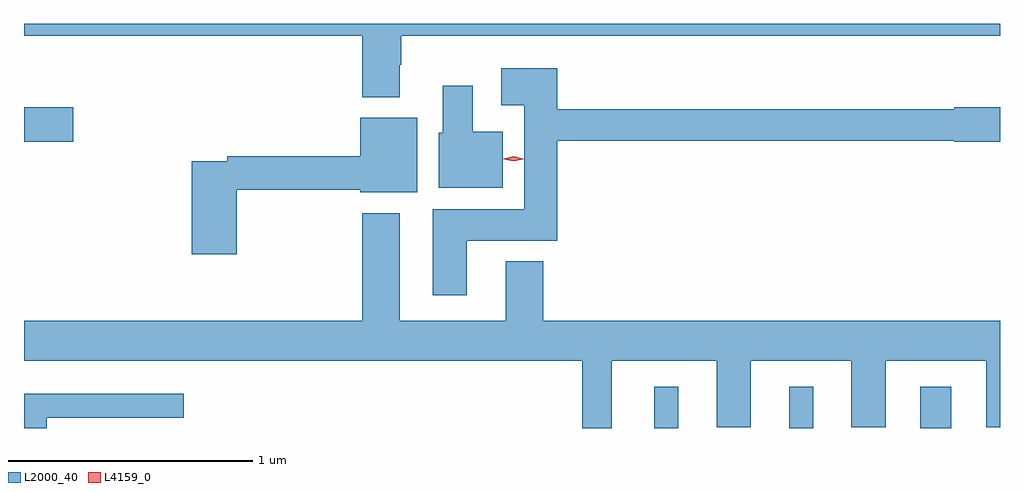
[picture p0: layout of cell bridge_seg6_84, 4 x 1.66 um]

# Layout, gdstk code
import gdstk
lib = gdstk.Library(unit=1e-6, precision=1e-09)
def R(c, l, rs):  # rectangles x0, y0, x1, y1
    for r in rs: c.add(gdstk.rectangle(r[:2], r[2:], *l))
def P(c, l, *ps):  # polygons
    for p in ps: c.add(gdstk.Polygon(p, *l))
L2000_40 = (2000, 40)
L4159_0 = (4159, 0)

bridge_seg6_84 = lib.new_cell('bridge_seg6_84')
R(bridge_seg6_84, L2000_40, [(726.002,996.344,726.1,996.514), (726.554,996.344,726.652,996.514), (727.091,996.344,727.219,996.514), (723.418,997.517,723.619,997.659)])
P(bridge_seg6_84, L2000_40, [(724.957,997.832),(724.965,997.832),(724.965,997.952),(727.418,997.952),(727.418,998),(723.418,998),(723.418,997.952),(724.805,997.952),(724.805,997.7),(724.957,997.7)],
  [(725.233,997.112),(725.603,997.112),(725.603,997.522),(727.23,997.522),(727.23,997.517),(727.418,997.517),(727.418,997.659),(727.23,997.659),(727.23,997.651),(725.603,997.651),(725.603,997.819),(725.373,997.819),(725.373,997.667),(725.468,997.667),(725.468,997.24),(725.093,997.24),(725.093,996.888),(725.233,996.888)],
  [(725.38,997.558),(725.257,997.558),(725.257,997.747),(725.135,997.747),(725.135,997.554),(725.117,997.554),(725.117,997.328),(725.38,997.328)],
  [(724.289,997.321),(724.796,997.321),(724.796,997.31),(725.029,997.31),(725.029,997.615),(724.796,997.615),(724.796,997.457),(724.252,997.457),(724.252,997.437),(724.106,997.437),(724.106,997.056),(724.289,997.056)],
  [(725.827,996.62),(726.257,996.62),(726.257,996.347),(726.397,996.347),(726.397,996.62),(726.809,996.62),(726.809,996.347),(726.949,996.347),(726.949,996.62),(727.361,996.62),(727.361,996.347),(727.418,996.347),(727.418,996.784),(725.546,996.784),(725.546,997.027),(725.393,997.027),(725.393,996.784),(724.957,996.784),(724.957,997.225),(724.805,997.225),(724.805,996.784),(723.418,996.784),(723.418,996.62),(725.706,996.62),(725.706,996.344),(725.827,996.344)],
  [(723.511,996.387),(724.072,996.387),(724.072,996.484),(723.418,996.484),(723.418,996.344),(723.511,996.344)])
P(bridge_seg6_84, L4159_0, [(725.425,997.437),(725.385,997.446),(725.384,997.447),(725.385,997.447),(725.425,997.457),(725.465,997.447),(725.465,997.447),(725.465,997.446)])

lib.write_gds('bridge_seg6_84.gds')
